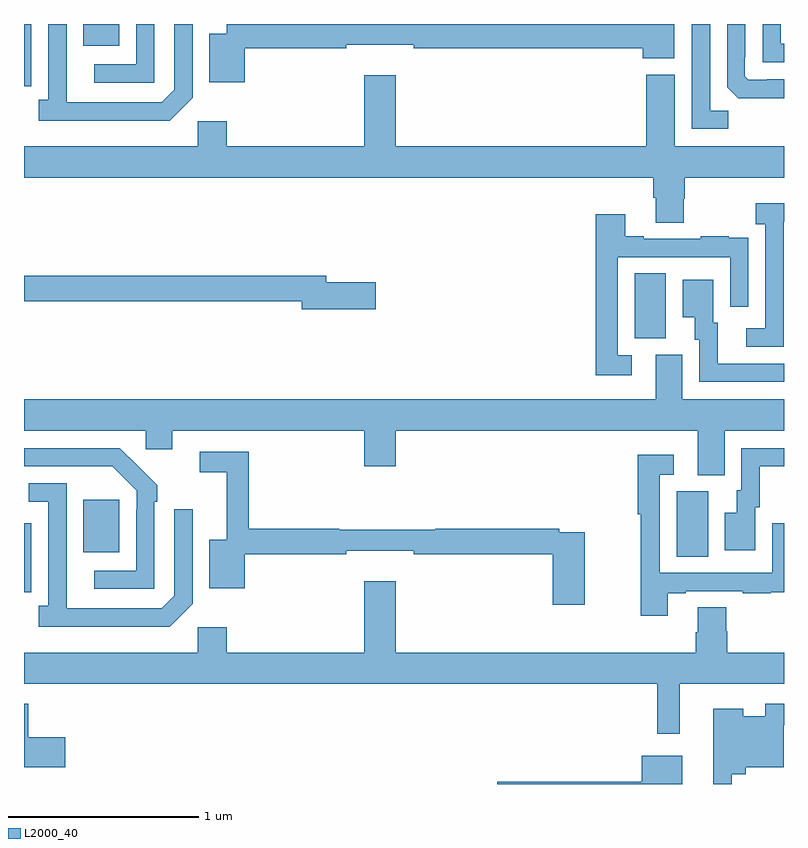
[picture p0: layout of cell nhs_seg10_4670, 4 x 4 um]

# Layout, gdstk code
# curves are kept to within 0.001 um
import gdstk
lib = gdstk.Library(unit=1e-6, precision=1e-09)
def R(c, l, rs):  # rectangles x0, y0, x1, y1
    for r in rs: c.add(gdstk.rectangle(r[:2], r[2:], *l))
def P(c, l, *ps):  # polygons
    for p in ps: c.add(gdstk.Polygon(p, *l))
L2000_40 = (2000, 40)

nhs_seg10_4670 = lib.new_cell('nhs_seg10_4670')
R(nhs_seg10_4670, L2000_40, [(382.436,1255.696,382.6,1256.04), (379.313,1255.721,379.501,1255.996), (382.214,1256.845,382.378,1257.188), (379.313,1258.385,379.501,1258.5)])
P(nhs_seg10_4670, L2000_40, [(383,1258.395),(382.983,1258.395),(382.983,1258.5),(382.887,1258.5),(382.887,1258.299),(383,1258.299)],
  [(379.887,1258.113),(379.887,1258.5),(379.791,1258.5),(379.791,1258.155),(379.725,1258.089),(379.225,1258.089),(379.224,1258.5),(379.128,1258.5),(379.128,1258.102),(379.077,1258.102),(379.077,1257.992),(379.766,1257.992)],
  [(379.686,1258.5),(379.59,1258.5),(379.59,1258.287),(379.371,1258.287),(379.371,1258.191),(379.686,1258.191)],
  [(380.163,1258.372),(380.696,1258.372),(380.696,1258.391),(381.052,1258.391),(381.052,1258.372),(382.256,1258.372),(382.256,1258.319),(382.423,1258.319),(382.423,1258.5),(380.066,1258.5),(380.066,1258.45),(379.976,1258.45),(379.976,1258.193),(380.163,1258.193)],
  [(382.707,1258.043),(382.611,1258.043),(382.611,1258.5),(382.515,1258.5),(382.515,1257.948),(382.707,1257.948)],
  [(379.037,1258.282),(379.038,1258.282),(379.038,1258.5),(379,1258.5),(379,1258.173),(379.037,1258.173)],
  [(383,1258.209),(382.912,1258.209),(382.912,1258.206),(382.812,1258.206),(382.794,1258.224),(382.794,1258.324),(382.797,1258.324),(382.797,1258.5),(382.701,1258.5),(382.701,1258.168),(382.76,1258.109),(383,1258.108)],
  [(382.473,1257.579),(382.478,1257.579),(382.478,1257.692),(383,1257.692),(383,1257.856),(382.426,1257.856),(382.426,1258.234),(382.274,1258.234),(382.274,1257.856),(380.956,1257.856),(380.956,1258.231),(380.792,1258.231),(380.792,1257.856),(380.066,1257.856),(380.066,1257.988),(379.914,1257.988),(379.914,1257.856),(379,1257.856),(379,1257.692),(382.313,1257.692),(382.313,1257.586),(382.325,1257.586),(382.325,1257.454),(382.473,1257.454)],
  [(382.998,1257.259),(382.999,1257.259),(382.999,1257.459),(383,1257.459),(383,1257.556),(382.851,1257.556),(382.851,1257.446),(382.902,1257.446),(382.902,1256.898),(382.8,1256.898),(382.8,1256.802),(382.998,1256.802)],
  [(382.198,1256.757),(382.125,1256.757),(382.125,1257.273),(382.716,1257.273),(382.716,1257.012),(382.812,1257.012),(382.812,1257.266),(382.811,1257.266),(382.811,1257.375),(382.709,1257.375),(382.709,1257.382),(382.561,1257.382),(382.561,1257.369),(382.261,1257.369),(382.261,1257.382),(382.165,1257.382),(382.165,1257.499),(382.009,1257.499),(382.009,1256.652),(382.198,1256.652)],
  [(380.851,1257.14),(380.59,1257.14),(380.59,1257.176),(379,1257.176),(379,1257.04),(380.462,1257.04),(380.462,1256.998),(380.851,1256.998)],
  [(383,1256.712),(382.651,1256.712),(382.651,1256.928),(382.627,1256.928),(382.627,1257.154),(382.466,1257.154),(382.466,1256.957),(382.529,1256.957),(382.529,1256.838),(382.554,1256.838),(382.554,1256.616),(383,1256.616)],
  [(382.687,1256.36),(383,1256.36),(383,1256.524),(382.465,1256.524),(382.465,1256.76),(382.325,1256.76),(382.325,1256.524),(379,1256.524),(379,1256.36),(379.641,1256.36),(379.641,1256.262),(379.78,1256.262),(379.78,1256.36),(380.792,1256.36),(380.792,1256.172),(380.956,1256.172),(380.956,1256.36),(382.547,1256.36),(382.547,1256.125),(382.687,1256.125)],
  [(379.686,1255.985),(379.701,1255.985),(379.701,1256.073),(379.504,1256.268),(379,1256.268),(379,1256.172),(379.465,1256.172),(379.593,1256.043),(379.593,1255.943),(379.59,1255.943),(379.59,1255.623),(379.371,1255.623),(379.371,1255.527),(379.686,1255.527)],
  [(382.849,1255.956),(382.873,1255.956),(382.873,1256.172),(383,1256.172),(383,1256.268),(382.776,1256.268),(382.776,1256.046),(382.751,1256.046),(382.751,1255.927),(382.688,1255.927),(382.688,1255.731),(382.849,1255.731)],
  [(381.952,1255.824),(381.818,1255.824),(381.818,1255.844),(381.165,1255.844),(381.165,1255.837),(380.66,1255.837),(380.66,1255.844),(380.183,1255.844),(380.183,1256.25),(379.926,1256.25),(379.926,1256.142),(380.066,1256.142),(380.066,1255.786),(379.976,1255.786),(379.976,1255.529),(380.163,1255.529),(380.163,1255.708),(380.696,1255.708),(380.696,1255.727),(381.052,1255.727),(381.052,1255.708),(381.782,1255.708),(381.782,1255.443),(381.952,1255.443)],
  [(382.387,1255.503),(382.483,1255.503),(382.483,1255.515),(382.783,1255.515),(382.783,1255.503),(382.931,1255.503),(382.931,1255.509),(383,1255.509),(383,1255.873),(382.938,1255.873),(382.938,1255.611),(382.347,1255.611),(382.347,1256.127),(382.42,1256.127),(382.42,1256.233),(382.231,1256.233),(382.231,1255.92),(382.246,1255.92),(382.246,1255.386),(382.387,1255.386)],
  [(379.887,1255.449),(379.887,1255.945),(379.791,1255.945),(379.791,1255.491),(379.725,1255.425),(379.225,1255.425),(379.224,1256.082),(379.026,1256.082),(379.026,1255.986),(379.128,1255.986),(379.128,1255.438),(379.077,1255.438),(379.077,1255.328),(379.766,1255.328)],
  [(379.037,1255.618),(379.038,1255.618),(379.038,1255.873),(379,1255.873),(379,1255.509),(379.037,1255.509)],
  [(382.45,1255.028),(383,1255.028),(383,1255.192),(382.7,1255.192),(382.7,1255.305),(382.695,1255.305),(382.695,1255.43),(382.547,1255.43),(382.547,1255.298),(382.535,1255.298),(382.535,1255.192),(380.956,1255.192),(380.956,1255.567),(380.792,1255.567),(380.792,1255.192),(380.066,1255.192),(380.066,1255.324),(379.914,1255.324),(379.914,1255.192),(379,1255.192),(379,1255.028),(382.333,1255.028),(382.333,1254.765),(382.45,1254.765)],
  [(382.725,1254.551),(382.799,1254.551),(382.799,1254.587),(382.998,1254.587),(382.998,1254.809),(383,1254.809),(383,1254.922),(382.902,1254.922),(382.902,1254.856),(382.786,1254.856),(382.786,1254.895),(382.628,1254.895),(382.628,1254.5),(382.725,1254.5)],
  [(379.216,1254.745),(379.022,1254.745),(379.022,1254.922),(379,1254.922),(379,1254.587),(379.216,1254.587)],
  [(382.465,1254.649),(382.25,1254.649),(382.25,1254.512),(381.491,1254.512),(381.491,1254.5),(382.465,1254.5)])

lib.write_gds('nhs_seg10_4670.gds')
